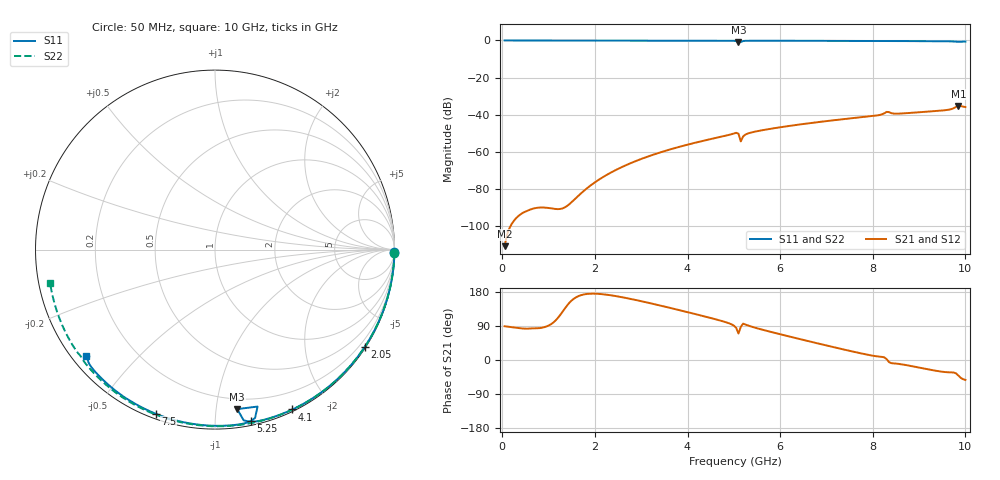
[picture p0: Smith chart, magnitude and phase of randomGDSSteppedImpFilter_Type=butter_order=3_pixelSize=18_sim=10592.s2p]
! freq	dB(S11)	phase(S11)	dB(S12)	phase(S12)
!  dB(S21)	phase(S21)	dB(S22)	phase(S22)
!S-par simulation data
#  GHz  S  DB  R 50
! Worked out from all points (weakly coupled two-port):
!   200 points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, 50 MHz to 10 GHz, reference 50 ohm
!   highest |S21| = -35.31 dB at 9.85 GHz (marker M1); lowest = -111.0 dB at 50 MHz (marker M2)
!   lowest |S11| = -0.9 dB at 5.1 GHz (marker M3), VSWR 18.48, Z = 6.25 - j57.1 ohm
!   |S11| at or under -10 dB: nowhere
!   |S22| runs from -0.6 to 0.0 dB; largest |S21 - S12| = 0
!   S11 on the Smith chart (normalised r, x): 50 MHz: open; 2.05 GHz: 0.03, -3.38; 4.1 GHz: 0.02, -1.60; 5.25 GHz: 0.03, -1.23; 7.5 GHz: 0.02, -0.70; 10 GHz: 0.04, -0.36
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0.05  -0.00 -0.8  -111.00 89.1  -111.00 89.1  -0.00 -1.0
0.85  -0.02 -13.8  -90.13 85.0  -90.13 85.0  -0.02 -16.2
1.75  -0.04 -28.2  -81.40 172.7  -81.40 172.7  -0.04 -33.1
1.85  -0.04 -29.8  -79.33 174.5  -79.33 174.5  -0.04 -34.9
2.05  -0.04 -33.0  -75.70 174.7  -75.70 174.7  -0.05 -38.6
2.65  -0.05 -42.3  -67.53 164.2  -67.53 164.2  -0.06 -49.4
3.4  -0.07 -53.7  -60.49 144.0  -60.49 144.0  -0.08 -62.7
4.1  -0.09 -64.1  -55.59 123.3  -55.59 123.3  -0.10 -74.7
5.05  -0.32 -80.5  -49.83 84.9  -49.83 84.9  -0.14 -90.4
5.1  -0.94 -82.1  -50.28 69.9  -50.28 69.9  -0.14 -91.2
5.15  -0.86 -74.8  -54.46 87.3  -54.46 87.3  -0.14 -92.0
5.2  -0.32 -76.6  -51.79 95.9  -51.79 95.9  -0.15 -92.9
5.25  -0.21 -78.2  -50.78 93.6  -50.78 93.6  -0.15 -93.7
5.65  -0.15 -85.2  -48.27 78.9  -48.27 78.9  -0.17 -100.1
6.7  -0.19 -99.5  -44.42 47.1  -44.42 47.1  -0.23 -116.6
7.5  -0.24 -109.9  -42.11 24.1  -42.11 24.1  -0.29 -128.9
8.1  -0.29 -117.6  -40.43 9.5  -40.43 9.5  -0.34 -138.2
8.35  -0.30 -120.7  -38.67 -5.5  -38.67 -5.5  -0.40 -142.0
8.55  -0.32 -123.2  -39.50 -10.1  -39.50 -10.1  -0.39 -145.1
9.5  -0.43 -135.5  -37.79 -31.0  -37.79 -31.0  -0.50 -160.2
9.85  -0.73 -139.6  -35.31 -41.1  -35.31 -41.1  -0.54 -165.9
10  -0.59 -140.5  -35.94 -52.6  -35.94 -52.6  -0.56 -168.4
